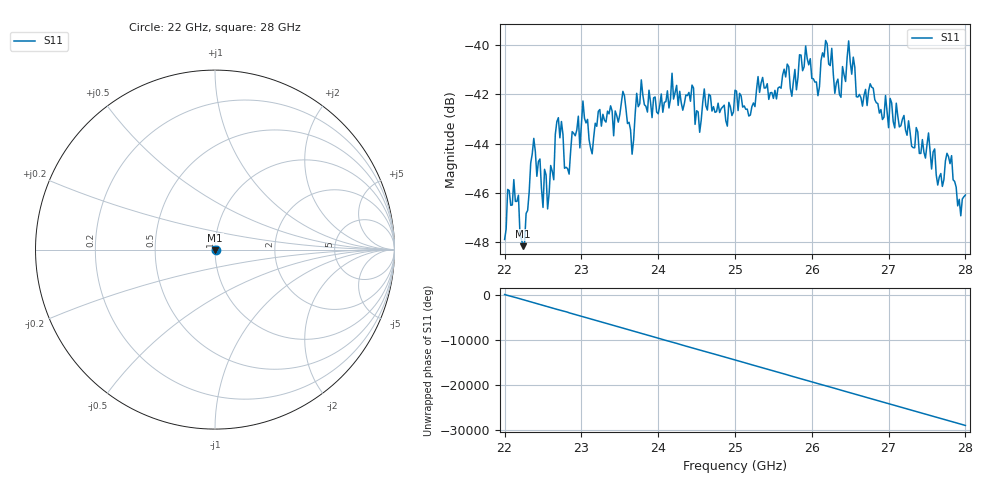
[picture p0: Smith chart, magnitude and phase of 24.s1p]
#  HZ  S  RI  R  50.00
! Rohde & Schwarz ZVA40 4Ports - Version 3.90 - 1145.1110k42 SN: 100403
! Date: 2023-10-04 07:19:40
! Measurement: S12
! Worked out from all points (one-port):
!   301 points, 22 GHz to 28 GHz, reference 50 ohm
!   lowest |S11| = -48.2 dB at 22.24 GHz (marker M1), VSWR 1.01, Z = 50.1 - j0.378 ohm
!   |S11| at or under -10 dB: start of sweep to end of sweep
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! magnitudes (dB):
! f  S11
! 22 GHz  -47.9
! 22.12 GHz  -45.5
! 22.24 GHz  -48.2
! 22.38 GHz  -43.8
! 22.56 GHz  -46.6
! 22.68 GHz  -43.1
! 22.76 GHz  -43.6
! 22.84 GHz  -45.2
! 22.98 GHz  -44.2
! 23.02 GHz  -42.3
! 23.14 GHz  -44.4
! 23.22 GHz  -42.7
! 23.5 GHz  -42.8
! 23.56 GHz  -42.1
! 23.66 GHz  -44.4
! 23.78 GHz  -41.4
! 24.26 GHz  -42.5
! 24.9 GHz  -43.3
! 25 GHz  -41.8
! 25.76 GHz  -41.5
! 25.92 GHz  -40.1
! 26.08 GHz  -42.1
! 26.18 GHz  -39.8
! 26.38 GHz  -42.1
! 26.5 GHz  -40.7
! 26.66 GHz  -42.5
! 27.26 GHz  -43.1
! 28 GHz  -46.1
